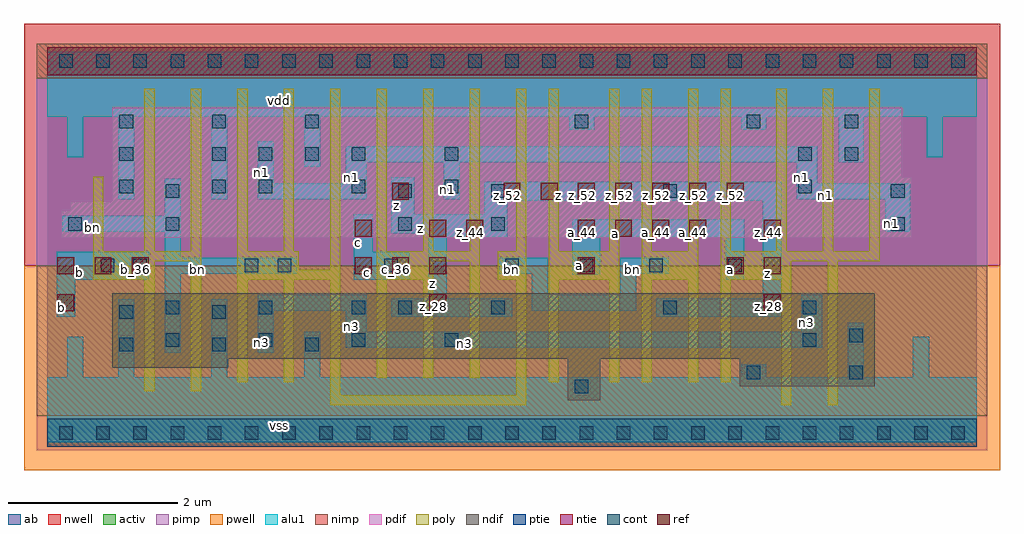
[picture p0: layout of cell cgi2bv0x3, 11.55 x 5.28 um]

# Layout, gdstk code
import gdstk
lib = gdstk.Library(unit=1e-6, precision=2.5e-09)
def R(c, l, rs):  # rectangles x0, y0, x1, y1
    for r in rs: c.add(gdstk.rectangle(r[:2], r[2:], *l))
def A(c, l, x, y, w, h, nx, ny, dx, dy):  # array of equal rectangles
    R(c, l, [(x+i*dx, y+j*dy, x+i*dx+w, y+j*dy+h) for i in range(nx) for j in range(ny)])
ndif = (3, 0)
pdif = (4, 0)
ntie = (5, 0)
ptie = (6, 0)
ref = (24, 0)
cont = (25, 0)
pwell = (41, 0)
nwell = (42, 0)
activ = (43, 0)
pimp = (44, 0)
nimp = (45, 0)
poly = (46, 0)
alu1 = (49, 0)
ab = (63, 0)

cgi2bv0x3 = lib.new_cell('cgi2bv0x3')
R(cgi2bv0x3, ndif, [(6.16,0.385,6.545,0.88), (8.195,0.55,9.79,0.88), (0.77,0.77,2.145,0.88), (0.77,0.88,9.79,1.65)])
R(cgi2bv0x3, pdif, [(0.165,2.31,10.23,2.64), (0.275,2.64,10.23,2.75), (0.77,2.75,10.23,3.025), (0.77,3.025,10.12,3.85)])
R(cgi2bv0x3, ntie, [(0,4.235,11,4.565)])
R(cgi2bv0x3, ptie, [(0,-0.165,11,0.165)])
A(cgi2bv0x3, ref, 8.48, 1.44, 0.2, 0.2, 1, 3, 0, 0.44)
A(cgi2bv0x3, ref, 0.12, 1.88, 0.2, 0.2, 3, 1, 0.44, 0)
A(cgi2bv0x3, ref, 3.64, 1.88, 0.2, 0.2, 3, 1, 0.44, 0)
A(cgi2bv0x3, ref, 6.28, 2.32, 0.2, 0.2, 4, 1, 0.44, 0)
A(cgi2bv0x3, ref, 5.4, 2.76, 0.2, 0.2, 7, 1, 0.44, 0)
R(cgi2bv0x3, ref, [(0.12,1.44,0.32,1.64), (4.52,1.44,4.72,1.64), (6.28,1.88,6.48,2.08), (8.04,1.88,8.24,2.08), (3.64,2.32,3.84,2.52), (4.52,2.32,4.72,2.52), (4.96,2.32,5.16,2.52), (4.08,2.76,4.28,2.96)])
A(cgi2bv0x3, cont, 0.14, -0.08, 0.16, 0.16, 25, 2, 0.44, 4.4)
A(cgi2bv0x3, cont, 0.855, 0.965, 0.16, 0.16, 3, 2, 1.1, 2.64)
A(cgi2bv0x3, cont, 1.405, 1.02, 0.16, 0.16, 4, 1, 1.1, 0)
A(cgi2bv0x3, cont, 1.405, 1.405, 0.16, 0.16, 3, 1, 1.1, 0)
A(cgi2bv0x3, cont, 2.505, 2.835, 0.16, 0.16, 3, 1, 1.1, 0)
A(cgi2bv0x3, cont, 1.955, 3.22, 0.16, 0.16, 4, 1, 0.55, 0)
R(cgi2bv0x3, cont, [(6.245,0.47,6.405,0.63), (8.28,0.635,8.44,0.795), (9.49,0.635,9.65,0.795), (8.94,1.02,9.1,1.18), (9.49,1.075,9.65,1.235), (0.855,1.35,1.015,1.51), (1.955,1.35,2.115,1.51), (4.155,1.405,4.315,1.565), (5.255,1.405,5.415,1.565), (7.29,1.405,7.45,1.565), (8.94,1.405,9.1,1.565), (0.635,1.9,0.795,2.06), (1.02,1.9,1.18,2.06), (2.34,1.9,2.5,2.06), (2.725,1.9,2.885,2.06), (3.99,1.9,4.15,2.06), (5.42,1.9,5.58,2.06), (6.3,1.9,6.46,2.06), (7.125,1.9,7.285,2.06), (8.06,1.9,8.22,2.06), (0.25,2.395,0.41,2.555), (1.405,2.395,1.565,2.555), (4.155,2.395,4.315,2.555), (5.255,2.395,5.415,2.555), (9.985,2.395,10.145,2.555), (1.405,2.78,1.565,2.94), (4.155,2.78,4.315,2.94), (5.255,2.78,5.415,2.94), (7.29,2.78,7.45,2.94), (9.985,2.78,10.145,2.94), (0.855,2.835,1.015,2.995), (1.955,2.835,2.115,2.995), (8.885,2.835,9.045,2.995), (0.855,3.22,1.015,3.38), (4.705,3.22,4.865,3.38), (8.885,3.22,9.045,3.38), (9.435,3.22,9.595,3.38), (6.245,3.605,6.405,3.765), (8.28,3.605,8.44,3.765), (9.435,3.605,9.595,3.765)])
R(cgi2bv0x3, pwell, [(-0.275,-0.44,11.275,1.98)])
R(cgi2bv0x3, nwell, [(-0.275,1.98,11.275,4.84)])
R(cgi2bv0x3, activ, [(0,-0.165,11,0.165), (6.16,0.385,6.545,0.88), (8.195,0.55,9.79,0.88), (0.77,0.77,2.145,0.88), (0.77,0.88,9.79,1.65), (0.165,2.31,10.23,2.64), (0.275,2.64,10.23,2.75), (0.77,2.75,10.23,3.025), (0.77,3.025,10.12,3.85), (0,4.235,11,4.565)])
R(cgi2bv0x3, pimp, [(-0.125,-0.205,11.125,0.205), (-0.125,1.98,11.125,4.195)])
R(cgi2bv0x3, nimp, [(-0.125,0.205,11.125,1.98), (-0.125,4.195,11.125,4.605)])
A(cgi2bv0x3, poly, 1.15, 2.15, 0.12, 1.925, 4, 1, 0.55, 0)
A(cgi2bv0x3, poly, 3.9, 2.15, 0.12, 1.925, 4, 1, 0.55, 0)
A(cgi2bv0x3, poly, 8.63, 2.15, 0.12, 1.925, 3, 1, 0.55, 0)
R(cgi2bv0x3, poly, [(3.35,0.325,5.67,0.445), (8.685,0.325,8.805,1.81), (9.235,0.325,9.355,2.03), (3.35,0.445,3.47,1.81), (5.55,0.445,5.67,1.81), (1.15,0.49,1.27,1.81), (1.7,0.49,1.82,2.03), (2.25,0.6,2.37,1.81), (2.8,0.6,2.92,1.81), (5.935,0.6,6.055,1.81), (6.65,0.6,6.77,1.81), (7.035,0.6,7.155,1.81), (7.585,0.6,7.705,1.81), (7.97,0.6,8.09,1.81), (3.9,0.655,4.02,1.81), (4.45,0.655,4.57,1.81), (5,0.655,5.12,2.03), (0.545,1.81,1.27,2.03), (2.25,1.81,3.47,1.93), (3.9,1.81,4.57,2.03), (5.33,1.81,5.67,2.15), (5.935,1.81,6.77,2.15), (7.035,1.81,7.705,2.15), (7.97,1.81,8.805,2.03), (2.25,1.93,2.975,2.15), (3.35,1.93,3.47,4.075), (0.545,2.03,1.82,2.15), (3.9,2.03,5.12,2.15), (7.97,2.03,9.85,2.15), (0.545,2.15,0.665,3.03), (5.935,2.15,6.055,4.075), (6.65,2.15,6.77,4.075), (7.035,2.15,7.155,4.075), (7.585,2.15,7.705,4.075), (7.97,2.15,8.09,4.075)])
R(cgi2bv0x3, alu1, [(0,-0.11,11,0.66), (0.235,0.66,0.425,1.14), (0.84,0.66,1.03,1.58), (1.94,0.66,2.13,1.58), (3.04,0.66,3.23,1.195), (8.21,0.66,8.51,0.81), (9.475,0.66,9.665,1.305), (10.245,0.66,10.435,1.14), (1.39,0.95,1.58,1.885), (2.49,0.95,2.68,1.445), (3.535,1.005,9.17,1.195), (3.535,1.195,3.78,1.445), (8.925,1.195,9.17,1.635), (0.11,1.375,0.33,1.815), (4.07,1.375,5.5,1.595), (7.205,1.375,8.69,1.595), (2.49,1.445,3.78,1.635), (5.735,1.445,6.97,1.635), (4.51,1.595,4.73,2.31), (8.47,1.595,8.69,2.75), (5.735,1.635,5.925,1.885), (6.78,1.635,6.97,1.885), (0.11,1.815,1.21,2.145), (3.63,1.815,4.29,2.145), (8.03,1.815,8.25,2.31), (6.215,1.87,6.545,2.31), (1.39,1.885,2.955,2.075), (5.35,1.885,5.925,2.075), (6.78,1.885,7.355,2.075), (1.39,2.075,1.58,2.38), (3.63,2.145,3.85,2.585), (4.51,2.31,5.445,2.365), (6.215,2.31,8.25,2.53), (4.07,2.365,5.445,2.585), (0.18,2.38,1.58,2.57), (9.915,2.38,10.215,2.765), (1.39,2.57,1.58,3.01), (4.07,2.585,4.345,3.025), (5.17,2.585,5.445,2.75), (5.17,2.75,8.69,2.97), (0.84,2.765,1.03,3.74), (1.94,2.765,2.13,3.74), (2.49,2.765,3.78,2.955), (4.69,2.765,4.88,3.205), (8.87,2.765,10.215,2.955), (2.49,2.955,2.68,3.45), (3.535,2.955,3.78,3.205), (8.87,2.955,9.115,3.205), (3.04,3.15,3.23,3.74), (3.535,3.205,9.115,3.395), (9.365,3.205,9.665,3.74), (0.235,3.26,0.425,3.74), (10.41,3.26,10.6,3.74), (6.175,3.59,6.475,3.74), (8.21,3.59,8.51,3.74), (0,3.74,11,4.51)])
R(cgi2bv0x3, ab, [(0,0,11,4.4)])
cgi2bv0x3.add(gdstk.Label('vss', (2.75,0.0825), layer=49, texttype=0))
cgi2bv0x3.add(gdstk.Label('n3', (4.9425,1.0525), layer=49, texttype=0))
cgi2bv0x3.add(gdstk.Label('n3', (8.985,1.305), layer=49, texttype=0))
cgi2bv0x3.add(gdstk.Label('n1', (9.99,2.475), layer=49, texttype=0))
cgi2bv0x3.add(gdstk.Label('z', (8.525,1.8825), layer=49, texttype=0))
cgi2bv0x3.add(gdstk.Label('n3', (3.595,1.2575), layer=49, texttype=0))
cgi2bv0x3.add(gdstk.Label('n3', (2.5375,1.0725), layer=49, texttype=0))
cgi2bv0x3.add(gdstk.Label('a', (8.085,1.9375), layer=49, texttype=0))
cgi2bv0x3.add(gdstk.Label('bn', (6.9225,1.9325), layer=49, texttype=0))
cgi2bv0x3.add(gdstk.Label('a', (6.2975,1.98), layer=49, texttype=0))
cgi2bv0x3.add(gdstk.Label('bn', (5.4925,1.9325), layer=49, texttype=0))
cgi2bv0x3.add(gdstk.Label('z', (4.565,1.7725), layer=49, texttype=0))
cgi2bv0x3.add(gdstk.Label('c', (3.795,1.8975), layer=49, texttype=0))
cgi2bv0x3.add(gdstk.Label('b', (0.165,1.485), layer=49, texttype=0))
cgi2bv0x3.add(gdstk.Label('bn', (1.78,1.9325), layer=49, texttype=0))
cgi2bv0x3.add(gdstk.Label('a', (6.7225,2.365), layer=49, texttype=0))
cgi2bv0x3.add(gdstk.Label('z', (4.4125,2.42), layer=49, texttype=0))
cgi2bv0x3.add(gdstk.Label('c', (3.685,2.255), layer=49, texttype=0))
cgi2bv0x3.add(gdstk.Label('b', (0.385,1.8975), layer=49, texttype=0))
cgi2bv0x3.add(gdstk.Label('bn', (0.53,2.4275), layer=49, texttype=0))
cgi2bv0x3.add(gdstk.Label('n1', (9.205,2.8125), layer=49, texttype=0))
cgi2bv0x3.add(gdstk.Label('n1', (8.93,3.0175), layer=49, texttype=0))
cgi2bv0x3.add(gdstk.Label('z', (6.05,2.805), layer=49, texttype=0))
cgi2bv0x3.add(gdstk.Label('n1', (4.7375,2.875), layer=49, texttype=0))
cgi2bv0x3.add(gdstk.Label('z', (4.1375,2.695), layer=49, texttype=0))
cgi2bv0x3.add(gdstk.Label('n1', (3.595,3.0175), layer=49, texttype=0))
cgi2bv0x3.add(gdstk.Label('n1', (2.5375,3.0775), layer=49, texttype=0))
cgi2bv0x3.add(gdstk.Label('vdd', (2.75,3.9325), layer=49, texttype=0))
cgi2bv0x3.add(gdstk.Label('z_44', (5.01,2.37), layer=24, texttype=0))
cgi2bv0x3.add(gdstk.Label('z_28', (4.57,1.49), layer=24, texttype=0))
cgi2bv0x3.add(gdstk.Label('z_36', (4.57,1.93), layer=24, texttype=0))
cgi2bv0x3.add(gdstk.Label('z_52', (4.13,2.81), layer=24, texttype=0))
cgi2bv0x3.add(gdstk.Label('z_44', (4.57,2.37), layer=24, texttype=0))
cgi2bv0x3.add(gdstk.Label('a_44', (7.65,2.37), layer=24, texttype=0))
cgi2bv0x3.add(gdstk.Label('z_52', (7.21,2.81), layer=24, texttype=0))
cgi2bv0x3.add(gdstk.Label('a_44', (7.21,2.37), layer=24, texttype=0))
cgi2bv0x3.add(gdstk.Label('z_44', (8.53,2.37), layer=24, texttype=0))
cgi2bv0x3.add(gdstk.Label('z_36', (8.53,1.93), layer=24, texttype=0))
cgi2bv0x3.add(gdstk.Label('z_28', (8.53,1.49), layer=24, texttype=0))
cgi2bv0x3.add(gdstk.Label('z_52', (8.09,2.81), layer=24, texttype=0))
cgi2bv0x3.add(gdstk.Label('a_36', (8.09,1.93), layer=24, texttype=0))
cgi2bv0x3.add(gdstk.Label('z_52', (7.65,2.81), layer=24, texttype=0))
cgi2bv0x3.add(gdstk.Label('z_52', (5.45,2.81), layer=24, texttype=0))
cgi2bv0x3.add(gdstk.Label('z_52', (6.77,2.81), layer=24, texttype=0))
cgi2bv0x3.add(gdstk.Label('a_44', (6.77,2.37), layer=24, texttype=0))
cgi2bv0x3.add(gdstk.Label('z_52', (6.33,2.81), layer=24, texttype=0))
cgi2bv0x3.add(gdstk.Label('a_44', (6.33,2.37), layer=24, texttype=0))
cgi2bv0x3.add(gdstk.Label('a_36', (6.33,1.93), layer=24, texttype=0))
cgi2bv0x3.add(gdstk.Label('z_52', (5.89,2.81), layer=24, texttype=0))
cgi2bv0x3.add(gdstk.Label('c_36', (4.13,1.93), layer=24, texttype=0))
cgi2bv0x3.add(gdstk.Label('c_36', (3.69,1.93), layer=24, texttype=0))
cgi2bv0x3.add(gdstk.Label('c_44', (3.69,2.37), layer=24, texttype=0))
cgi2bv0x3.add(gdstk.Label('b_36', (1.05,1.93), layer=24, texttype=0))
cgi2bv0x3.add(gdstk.Label('b_36', (0.61,1.93), layer=24, texttype=0))
cgi2bv0x3.add(gdstk.Label('b_28', (0.17,1.49), layer=24, texttype=0))
cgi2bv0x3.add(gdstk.Label('b_36', (0.17,1.93), layer=24, texttype=0))

lib.write_gds('cgi2bv0x3.gds')
